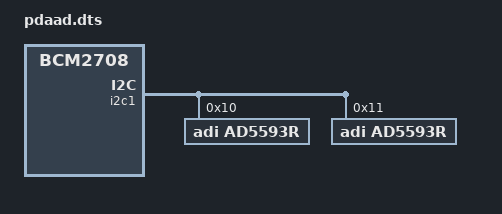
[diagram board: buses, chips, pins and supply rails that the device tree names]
// Enable the i2s interface
/dts-v1/;
/plugin/;

/ {
    compatible = "brcm,bcm2708";

    fragment@0 {
        target = <&i2c1>;
        __overlay__ {
            #size-cells = <0>;
            #address-cells = <1>;
            status = "okay";
            ad5593r@10 {
                compatible = "adi,ad5593r";
                reg = <0x10>;

                #size-cells = <0>;
                #address-cells = <1>;

                channel@0 {
                    reg = <0>;
                    adi,mode = <2>;
                    adi,off-state = <0>;
                };
                channel@1 {
                    reg = <1>;
                    adi,mode = <1>;
                    adi,off-state = <0>;
                };
                channel@2 {
                    reg = <2>;
                    adi,mode = <3>;
                    adi,off-state = <0>;
                };
                channel@6 {
                    reg = <6>;
                    adi,mode = <8>;
                    adi,off-state = <0>;
                };
            };
            ad5593r@11 {
                compatible = "adi,ad5593r";
                reg = <0x11>;

                #size-cells = <0>;
                #address-cells = <1>;

                channel@0 {
                    reg = <0>;
                    adi,mode = <2>;
                    adi,off-state = <0>;
                };
            };
        };
    };
};
